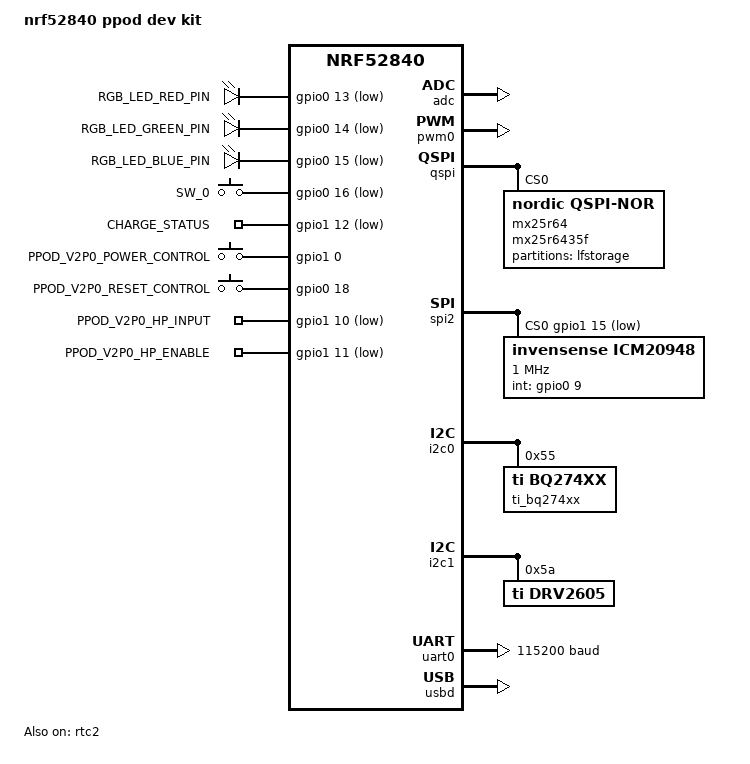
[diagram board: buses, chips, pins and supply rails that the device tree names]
/*
 * Copyright (c) 2018 Nordic Semiconductor ASA
 * Copyright (c) 2017 Linaro Limited
 *
 * SPDX-License-Identifier: Apache-2.0
 */

/dts-v1/;
#include <nordic/nrf52840_qiaa.dtsi>
#include "ppod_v2p0-pinctrl.dtsi"

/ {
	model = "nrf52840 ppod dev kit";
	compatible = "ropods,ppod-v2p0";

	chosen {
		zephyr,console = &uart0;
		zephyr,shell-uart = &uart0;
		zephyr,uart-mcumgr = &uart0;
		zephyr,bt-mon-uart = &uart0;
		zephyr,bt-c2h-uart = &uart0;
		zephyr,sram = &sram0;
		zephyr,flash = &flash0;
		zephyr,code-partition = &slot0_partition;
	};

	leds {
		compatible = "gpio-leds";
		ledr: led_r {
			gpios = <&gpio0 13 GPIO_ACTIVE_LOW>;
			label = "RGB_LED_RED_PIN";
		};
		ledg: led_g {
			gpios = <&gpio0 14 GPIO_ACTIVE_LOW>;
			label = "RGB_LED_GREEN_PIN";
		};
		ledb: led_b {
			gpios = <&gpio0 15 GPIO_ACTIVE_LOW>;
			label = "RGB_LED_BLUE_PIN";
		};
	};

	buttons {
		compatible = "gpio-keys";
		sw0: sw_0 {
			gpios = <&gpio0 16 (GPIO_PULL_UP | GPIO_ACTIVE_LOW)>;
			label = "SW_0";
		};
		charge_stat: charge_stat {
			gpios = <&gpio1 12 (GPIO_PULL_UP | GPIO_ACTIVE_LOW)>;
			label = "CHARGE_STATUS";
		};
		pwr_hold: pwr_hold {
			gpios = <&gpio1 0 GPIO_ACTIVE_HIGH>;
			label = "PPOD_V2P0_POWER_CONTROL";
		};
		reset: reset {
			gpios = <&gpio0 18 GPIO_ACTIVE_HIGH>;
			label = "PPOD_V2P0_RESET_CONTROL";
		};
		drv2605_input: drv2605_input {
			gpios = <&gpio1 10 (GPIO_PULL_UP | GPIO_ACTIVE_LOW)>;
			label = "PPOD_V2P0_HP_INPUT";
		};
		drv2605_enable: drv2605_enable {
			gpios = <&gpio1 11 (GPIO_PULL_UP | GPIO_ACTIVE_LOW)>;
			label = "PPOD_V2P0_HP_ENABLE";
		};
	};

	/* These aliases are provided for compatibility with samples */
	aliases {
		led0 = &ledr;
		led1 = &ledg;
		led2 = &ledb;
		ledr = &ledr;
		ledg = &ledg;
		ledb = &ledb;
		sw0 = &sw0;
		mcuboot-button0 = &sw0;
		mcuboot-led0 = &ledr;
		watchdog0 = &wdt0;
	};
};

&adc {
	status = "okay";
};

&gpiote {
	status = "okay";
};

&gpio0 {
	status = "okay";
};

&gpio1 {
	status = "okay";
};

&pwm0 {
	status = "okay";
	pinctrl-0 = <&pwm0_default>;
	pinctrl-1 = <&pwm0_sleep>;
	pinctrl-names = "default", "sleep";
};

&qspi {
	status = "okay";
	pinctrl-0 = <&qspi_default>;
	pinctrl-1 = <&qspi_sleep>;
	pinctrl-names = "default", "sleep";
	mx25r64: mx25r6435f@0 {
		compatible = "nordic,qspi-nor";
		reg = <0>;
		writeoc = "pp4io";
		readoc = "read4io";
		sck-frequency = <8000000>;
		jedec-id = [c2 28 17];
		sfdp-bfp = [
			e5 20 f1 ff  ff ff ff 03  44 eb 08 6b  08 3b 04 bb
			ee ff ff ff  ff ff 00 ff  ff ff 00 ff  0c 20 0f 52
			10 d8 00 ff  23 72 f5 00  82 ed 04 cc  44 83 68 44
			30 b0 30 b0  f7 c4 d5 5c  00 be 29 ff  f0 d0 ff ff
		];
		size = <67108864>;
		has-dpd;
		t-enter-dpd = <10000>;
		t-exit-dpd = <35000>;
	};
};

&rtc2 {
	status = "okay";
	prescaler = <255>;
};

&spi0 {
	compatible = "nordic,nrf-spi";
	/* Cannot be used together with i2c0. */
	/* status = "okay"; */
	pinctrl-0 = <&spi0_default>;
	pinctrl-1 = <&spi0_sleep>;
	pinctrl-names = "default", "sleep";
};

&spi1 {
	compatible = "nordic,nrf-spi";
	/* Cannot be used together with i2c1. */
	/* status = "okay"; */
	pinctrl-0 = <&spi1_default>;
	pinctrl-1 = <&spi1_sleep>;
	pinctrl-names = "default", "sleep";
};

&spi2 {
	compatible = "nordic,nrf-spi";
	status = "okay";
	pinctrl-0 = <&spi2_default>;
	pinctrl-1 = <&spi2_sleep>;
	pinctrl-names = "default", "sleep";
	cs-gpios = <&gpio1 15 GPIO_ACTIVE_LOW>;
	icm20948: icm20948@0 {
		compatible = "invensense,icm20948";
		spi-max-frequency = <1000000>;
		reg = <0>;
		int-gpios = <&gpio0 9 GPIO_ACTIVE_HIGH>;
	};
};

&i2c0 {
	compatible = "nordic,nrf-twi";
	status = "okay";
	pinctrl-0 = <&i2c0_default>;
	pinctrl-1 = <&i2c0_sleep>;
	pinctrl-names = "default", "sleep";
	ti_bq274xx: ti_bq274xx@55 {
		compatible = "ti,bq274xx";
		reg = <0x55>;
		design-voltage = <3700>; /* 3.7V */
		design-capacity = <300>; /* 300mAh */
		taper-current = <50>; /* Taper current is 10% of charge current(500mAh is fast charge current) */
		terminate-voltage = <3000>; /* 3V */
	};
};

&i2c1 {
	compatible = "nordic,nrf-twi";
	status = "okay";
	pinctrl-0 = <&i2c1_default>;
	pinctrl-1 = <&i2c1_sleep>;
	pinctrl-names = "default", "sleep";
	drv2605@5a {
		compatible = "ti,drv2605";
		reg = <0x5a>;
		actuator-mode = "ERM";
	};
};

&uart0 {
	compatible = "nordic,nrf-uarte";
	status = "okay";
	current-speed = <115200>;
	pinctrl-0 = <&uart0_default>;
	pinctrl-1 = <&uart0_sleep>;
	pinctrl-names = "default", "sleep";
};

&usbd {
	compatible = "nordic,nrf-usbd";
	status = "okay";
};

/* Include filesystem table */
#include "fstab-default.dts"

&mx25r64 {
	partitions {
		compatible = "fixed-partitions";
		#address-cells = <1>;
		#size-cells = <1>;

		files_partition: partition@0 {
			label = "lfstorage";
			reg = <0x00000000 0x007a1000>;
		};
	};
};
